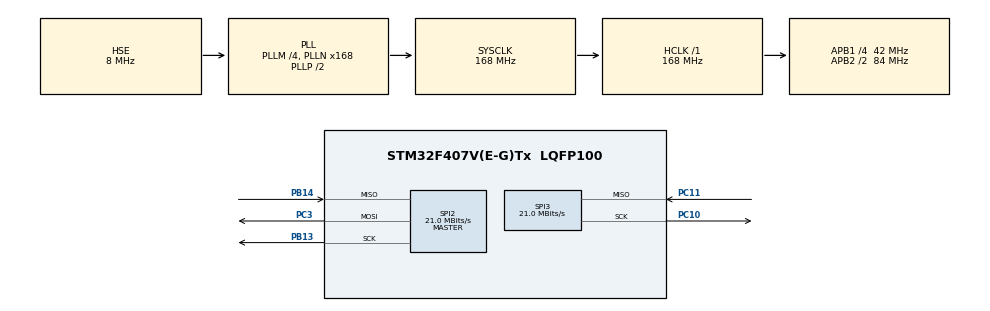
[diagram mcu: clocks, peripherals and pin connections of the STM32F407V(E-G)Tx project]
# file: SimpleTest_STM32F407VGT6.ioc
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Mcu.Family=STM32F4
Mcu.Name=STM32F407V(E-G)Tx
Mcu.Package=LQFP100
NVIC.PriorityGroup=NVIC_PRIORITYGROUP_4
NVIC.SPI3_IRQn=true\:0\:0\:false\:false\:true\:true\:true\:true
NVIC.TIM2_IRQn=true\:0\:0\:false\:false\:true\:true\:true\:true
PA13.Mode=JTAG_5_pins
PA13.Signal=SYS_JTMS-SWDIO
PA14.Mode=JTAG_5_pins
PA14.Signal=SYS_JTCK-SWCLK
PA15.Mode=JTAG_5_pins
PA15.Signal=SYS_JTDI
PB13.Mode=Full_Duplex_Master
PB13.Signal=SPI2_SCK
PB14.Mode=Full_Duplex_Master
PB14.Signal=SPI2_MISO
PB3.Mode=JTAG_5_pins
PB3.Signal=SYS_JTDO-SWO
PB4.Mode=JTAG_5_pins
PB4.Signal=SYS_JTRST
PC10.Mode=RX_Only_Simplex_Unidirect_Master
PC10.Signal=SPI3_SCK
PC11.Mode=RX_Only_Simplex_Unidirect_Master
PC11.Signal=SPI3_MISO
PC3.Mode=Full_Duplex_Master
PC3.Signal=SPI2_MOSI
PH0-OSC_IN.Mode=HSE-External-Oscillator
PH0-OSC_IN.Signal=RCC_OSC_IN
PH1-OSC_OUT.Mode=HSE-External-Oscillator
PH1-OSC_OUT.Signal=RCC_OSC_OUT
ProjectManager.HeapSize=0x200
ProjectManager.StackSize=0x400
ProjectManager.TargetToolchain=MDK-ARM V5.32
RCC.48MHZClocksFreq_Value=84000000
RCC.AHBFreq_Value=168000000
RCC.APB1CLKDivider=RCC_HCLK_DIV4
RCC.APB1Freq_Value=42000000
RCC.APB1TimFreq_Value=84000000
RCC.APB2CLKDivider=RCC_HCLK_DIV2
RCC.APB2Freq_Value=84000000
RCC.APB2TimFreq_Value=168000000
RCC.CortexFreq_Value=168000000
RCC.EnbaleCSS=true
RCC.HCLKFreq_Value=168000000
RCC.HSE_VALUE=8000000
RCC.HSI_VALUE=16000000
RCC.LSE_VALUE=32768
RCC.PLLM=4
RCC.PLLN=168
RCC.PLLSourceVirtual=RCC_PLLSOURCE_HSE
RCC.SYSCLKFreq_VALUE=168000000
RCC.SYSCLKSource=RCC_SYSCLKSOURCE_PLLCLK
RCC.VCOOutputFreq_Value=336000000
SPI2.CLKPhase=SPI_PHASE_2EDGE
SPI2.CLKPolarity=SPI_POLARITY_HIGH
SPI2.CalculateBaudRate=21.0 MBits/s
SPI2.Direction=SPI_DIRECTION_2LINES
SPI2.Mode=SPI_MODE_MASTER
SPI2.VirtualType=VM_MASTER
SPI3.BaudRatePrescaler=SPI_BAUDRATEPRESCALER_2
SPI3.CalculateBaudRate=21.0 MBits/s
SPI3.Direction=SPI_DIRECTION_2LINES_RXONLY
SPI3.Mode=SPI_MODE_MASTER
SPI3.VirtualType=VM_MASTER
VP_TIM2_VS_ClockSourceINT.Mode=Internal
board=custom

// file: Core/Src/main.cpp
/* USER CODE BEGIN Header */
/**
  ******************************************************************************
  * @file           : main.c
  * @brief          : Main program body
  ******************************************************************************
  * @attention
  *
  * Copyright (c) 2024 STMicroelectronics.
  * All rights reserved.
  *
  * This software is licensed under terms that can be found in the LICENSE file
  * in the root directory of this software component.
  * If no LICENSE file comes with this software, it is provided AS-IS.
  *
  ******************************************************************************
  */
/* USER CODE END Header */
#include "main.h"

/* USER CODE BEGIN Includes */
#include "TimerControl.h"
#include "EncoderSSI.h"
/* USER CODE END Includes */

SPI_HandleTypeDef hspi2;
SPI_HandleTypeDef hspi3;

TIM_HandleTypeDef htim2;

/* USER CODE BEGIN PV */
TimerControl timer(&htim2);
EncoderSSI encoder;
volatile double posdeg = 0, posRaw = 0;
volatile uint32_t posStep = 0;
volatile double vel = 0;
volatile int i = 0;
/* USER CODE END PV */

void SystemClock_Config(void);
static void MX_GPIO_Init(void);
static void MX_SPI3_Init(void);
static void MX_TIM2_Init(void);
static void MX_SPI2_Init(void);

int main(void)
{

  /* MCU Configuration--------------------------------------------------------*/

  /* Reset of all peripherals, Initializes the Flash interface and the Systick. */
  HAL_Init();

  /* Configure the system clock */
  SystemClock_Config();

  /* Initialize all configured peripherals */
  MX_GPIO_Init();
  MX_SPI3_Init();
  MX_TIM2_Init();
  MX_SPI2_Init();
  /* USER CODE BEGIN 2 */
  timer.setClockFrequency(84000000);
  timer.init();

  encoder.parameters.HSPI = &hspi3;
  encoder.parameters.CLK_GPIO_PORT = GPIOC;
  encoder.parameters.CLK_GPIO_PIN = GPIO_PIN_10;;
  encoder.parameters.DATA_GPIO_PORT = GPIOC;
  encoder.parameters.DATA_GPIO_PIN = GPIO_PIN_11;
  encoder.parameters.TIMER = &timer;
  encoder.parameters.RESOLUTION_SINGLE_TURN = 17;
  encoder.parameters.RESOLUTION_MULTI_TURN = 0;
  encoder.parameters.DATA_FORAMT = EncoderSSI_DATA_FORMAT_BINARY;
  encoder.parameters.START_BIT = false;
  encoder.parameters.RATE_ENA = true;
  encoder.parameters.GEAR_RATIO = 1;
  encoder.parameters.MAP_ENA = false;
  encoder.parameters.MAP_MAX = 180.0; // 360 * pow(2.0, 6.0);
  encoder.parameters.MAP_MIN = -180.0; //-360 * pow(2.0, 6.0);
  encoder.parameters.POSRAW_OFFSET_DEG = 0;
  encoder.parameters.SPI_MODE = 1;
  encoder.parameters.SPI_BAUDRATE_PRESCALER = SPI_BAUDRATEPRESCALER_128;
  encoder.parameters.GPIO_CLOCK_FRQ = 200000;
  encoder.parameters.READ_MODE = 0;
  encoder.parameters.IGNORE_MULTI_TURN = false;

  // encoder.parameters.FLTR = 50;
  // encoder.parameters.FLTA = 5;
  // encoder.parameters.FLTM = 3;
  // encoder.parameters.FLTS = 0;

  timer.start();
  HAL_Delay(10);
  if(encoder.init() == false)
  {
    while(1);
  }

  // encoder.setPresetValueDeg(360);
  /* USER CODE END 2 */

  /* Infinite loop */
  /* USER CODE BEGIN WHILE */
  while (1)
  {
    i = timer.micros();
    encoder.update();
    posdeg = encoder.value.posDeg;
    posRaw = encoder.value.posRawDeg;
    posStep = encoder.value.posRawStep;
    vel = encoder.value.velDegSec;
    HAL_Delay(100);
    /* USER CODE END WHILE */

  }
}

void SystemClock_Config(void)
{
  RCC_OscInitTypeDef RCC_OscInitStruct = {0};
  RCC_ClkInitTypeDef RCC_ClkInitStruct = {0};

  /** Configure the main internal regulator output voltage
  */
  __HAL_RCC_PWR_CLK_ENABLE();
  __HAL_PWR_VOLTAGESCALING_CONFIG(PWR_REGULATOR_VOLTAGE_SCALE1);

  /** Initializes the RCC Oscillators according to the specified parameters
  * in the RCC_OscInitTypeDef structure.
  */
  RCC_OscInitStruct.OscillatorType = RCC_OSCILLATORTYPE_HSE;
  RCC_OscInitStruct.HSEState = RCC_HSE_ON;
  RCC_OscInitStruct.PLL.PLLState = RCC_PLL_ON;
  RCC_OscInitStruct.PLL.PLLSource = RCC_PLLSOURCE_HSE;
  RCC_OscInitStruct.PLL.PLLM = 4;
  RCC_OscInitStruct.PLL.PLLN = 168;
  RCC_OscInitStruct.PLL.PLLP = RCC_PLLP_DIV2;
  RCC_OscInitStruct.PLL.PLLQ = 4;
  if (HAL_RCC_OscConfig(&RCC_OscInitStruct) != HAL_OK)
  {
    Error_Handler();
  }

  /** Initializes the CPU, AHB and APB buses clocks
  */
  RCC_ClkInitStruct.ClockType = RCC_CLOCKTYPE_HCLK|RCC_CLOCKTYPE_SYSCLK
                              |RCC_CLOCKTYPE_PCLK1|RCC_CLOCKTYPE_PCLK2;
  RCC_ClkInitStruct.SYSCLKSource = RCC_SYSCLKSOURCE_PLLCLK;
  RCC_ClkInitStruct.AHBCLKDivider = RCC_SYSCLK_DIV1;
  RCC_ClkInitStruct.APB1CLKDivider = RCC_HCLK_DIV4;
  RCC_ClkInitStruct.APB2CLKDivider = RCC_HCLK_DIV2;

  if (HAL_RCC_ClockConfig(&RCC_ClkInitStruct, FLASH_LATENCY_5) != HAL_OK)
  {
    Error_Handler();
  }

  /** Enables the Clock Security System
  */
  HAL_RCC_EnableCSS();
}

static void MX_SPI2_Init(void)
{

  /* SPI2 parameter configuration*/
  hspi2.Instance = SPI2;
  hspi2.Init.Mode = SPI_MODE_MASTER;
  hspi2.Init.Direction = SPI_DIRECTION_2LINES;
  hspi2.Init.DataSize = SPI_DATASIZE_8BIT;
  hspi2.Init.CLKPolarity = SPI_POLARITY_HIGH;
  hspi2.Init.CLKPhase = SPI_PHASE_2EDGE;
  hspi2.Init.NSS = SPI_NSS_SOFT;
  hspi2.Init.BaudRatePrescaler = SPI_BAUDRATEPRESCALER_2;
  hspi2.Init.FirstBit = SPI_FIRSTBIT_MSB;
  hspi2.Init.TIMode = SPI_TIMODE_DISABLE;
  hspi2.Init.CRCCalculation = SPI_CRCCALCULATION_DISABLE;
  hspi2.Init.CRCPolynomial = 10;
  if (HAL_SPI_Init(&hspi2) != HAL_OK)
  {
    Error_Handler();
  }

}

static void MX_SPI3_Init(void)
{

  /* SPI3 parameter configuration*/
  hspi3.Instance = SPI3;
  hspi3.Init.Mode = SPI_MODE_MASTER;
  hspi3.Init.Direction = SPI_DIRECTION_2LINES_RXONLY;
  hspi3.Init.DataSize = SPI_DATASIZE_8BIT;
  hspi3.Init.CLKPolarity = SPI_POLARITY_LOW;
  hspi3.Init.CLKPhase = SPI_PHASE_1EDGE;
  hspi3.Init.NSS = SPI_NSS_SOFT;
  hspi3.Init.BaudRatePrescaler = SPI_BAUDRATEPRESCALER_2;
  hspi3.Init.FirstBit = SPI_FIRSTBIT_MSB;
  hspi3.Init.TIMode = SPI_TIMODE_DISABLE;
  hspi3.Init.CRCCalculation = SPI_CRCCALCULATION_DISABLE;
  hspi3.Init.CRCPolynomial = 10;
  if (HAL_SPI_Init(&hspi3) != HAL_OK)
  {
    Error_Handler();
  }

}

static void MX_TIM2_Init(void)
{

  TIM_ClockConfigTypeDef sClockSourceConfig = {0};
  TIM_MasterConfigTypeDef sMasterConfig = {0};

  htim2.Instance = TIM2;
  htim2.Init.Prescaler = 0;
  htim2.Init.CounterMode = TIM_COUNTERMODE_UP;
  htim2.Init.Period = 4294967295;
  htim2.Init.ClockDivision = TIM_CLOCKDIVISION_DIV1;
  htim2.Init.AutoReloadPreload = TIM_AUTORELOAD_PRELOAD_DISABLE;
  if (HAL_TIM_Base_Init(&htim2) != HAL_OK)
  {
    Error_Handler();
  }
  sClockSourceConfig.ClockSource = TIM_CLOCKSOURCE_INTERNAL;
  if (HAL_TIM_ConfigClockSource(&htim2, &sClockSourceConfig) != HAL_OK)
  {
    Error_Handler();
  }
  sMasterConfig.MasterOutputTrigger = TIM_TRGO_RESET;
  sMasterConfig.MasterSlaveMode = TIM_MASTERSLAVEMODE_DISABLE;
  if (HAL_TIMEx_MasterConfigSynchronization(&htim2, &sMasterConfig) != HAL_OK)
  {
    Error_Handler();
  }

}

static void MX_GPIO_Init(void)
{

  /* GPIO Ports Clock Enable */
  __HAL_RCC_GPIOH_CLK_ENABLE();
  __HAL_RCC_GPIOC_CLK_ENABLE();
  __HAL_RCC_GPIOB_CLK_ENABLE();
  __HAL_RCC_GPIOA_CLK_ENABLE();

}

void Error_Handler(void)
{
  __disable_irq();
  while (1)
  {
  }
}
